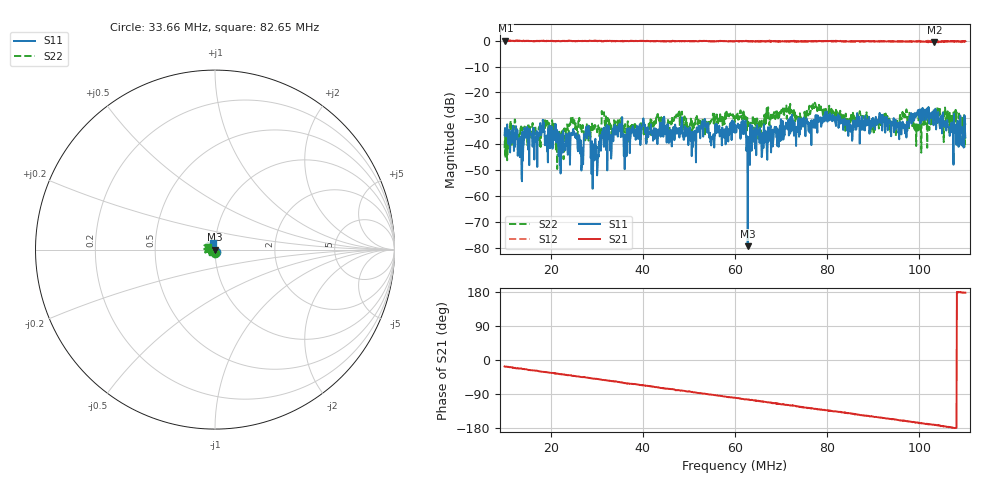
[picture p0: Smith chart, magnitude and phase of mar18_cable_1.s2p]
! Anritsu VNA Master:  Model: MS2036C/10/77
! SN:  1601066
! /card0/usr/mar18_cable_1.s2p
! Existing Calibration Information:
! TYPE:  Current Settings,  Active Cal Settings
! TIME:  03/18/2016 01:36:23 PM,  03/18/2016 01:23:09 PM
! INTERNAL TEMP:  47.8 C,  46.8 C
! # POINTS:  1087,  1087
! START FREQ:  10.000 MHz,  5.000 kHz
! STOP FREQ:  110.000 MHz,  6.000 GHz
! SOURCE POWER:  Low,  Low
! IFBW:  1 kHz,  1 kHz
! AVG FACTOR:  1 ,  1
! REF PLANE 1:  -6.095 mm,  -6.095 mm
! REF PLANE 2:  0 mm,  0 mm
! CAL TYPE:  Full 2 Port,  Full 2 Port
! CAL METHOD:  SOLT,  SOLT
! CAL LINE TYPE:  Coax,  Coax
! DUT PORT 1:  K-Conn(M),  K-Conn(M)
! DUT PORT 2:  N-Conn(M),  N-Conn(M)
! CAL STATUS:  OK: Accuracy High,  --
# GHZ S MA R 50.0
! FREQ.GHZ  S11M  S11A  S21M  S21A  S12M  S12A  S22M  S22A
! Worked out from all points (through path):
!   1087 points, 10 MHz to 110 MHz, reference 50 ohm
!   highest |S21| = 0.04 dB at 10.18 MHz (marker M1); lowest = -0.7 dB at 103.3 MHz (marker M2)
!   group delay of S21, straight-line fit = 4.6 ns
!   lowest |S11| = -79.3 dB at 62.76 MHz (marker M3), VSWR 1.00, Z = 50 - j0.00239 ohm
!   |S11| at or under -10 dB: start of sweep to end of sweep
!   |S22| runs from -49.5 to -24.0 dB; largest |S21 - S12| = 0.082
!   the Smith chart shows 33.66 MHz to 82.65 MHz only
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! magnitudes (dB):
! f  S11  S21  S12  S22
! 10 MHz  -36.4  -0.1  0.0  -41.5
! 10.18 MHz  -37.0  0.0  0.0  -45.3
! 13.31 MHz  -45.0  0.0  -0.1  -37.1
! 18.1 MHz  -35.3  0.0  -0.2  -32.8
! 20.59 MHz  -37.0  -0.1  -0.3  -36.2
! 21.6 MHz  -37.0  -0.2  -0.1  -40.7
! 25.1 MHz  -35.4  -0.2  -0.2  -30.7
! 26.67 MHz  -50.1  -0.1  -0.1  -33.8
! 27.96 MHz  -37.8  -0.1  -0.2  -37.4
! 29.15 MHz  -57.1  -0.1  -0.2  -34.1
! 35.14 MHz  -32.8  -0.1  -0.2  -32.3
! 36.06 MHz  -49.6  -0.1  -0.2  -33.2
! 40.2 MHz  -31.2  -0.1  -0.2  -36.2
! 43.43 MHz  -36.8  -0.2  -0.3  -30.7
! 60 MHz  -35.6  -0.2  -0.2  -31.3
! 61.84 MHz  -32.0  -0.2  -0.2  -27.4
! 62.76 MHz  -79.3  -0.1  -0.2  -33.1
! 63.78 MHz  -33.3  -0.3  -0.1  -33.4
! 76.67 MHz  -30.7  -0.3  -0.3  -25.0
! 93.43 MHz  -30.9  -0.3  -0.3  -30.1
! 103.3 MHz  -29.2  -0.7  -0.1  -30.8
! 110 MHz  -37.4  -0.2  -0.3  -32.5
